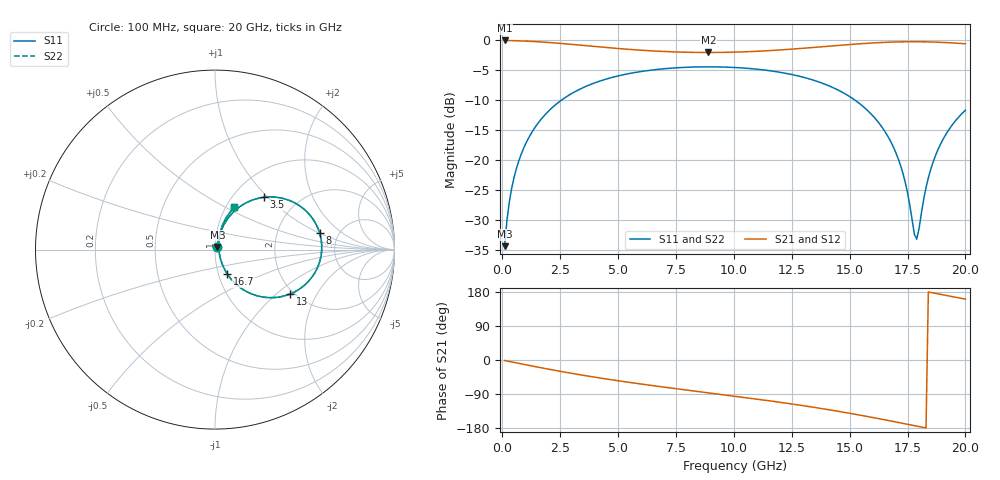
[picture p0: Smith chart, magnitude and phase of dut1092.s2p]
! Touchstone file exported from HFSS 2026.1.0
!  File:  C:/ffzhzh/LocalFiles/Ansys_Project_Files/temp_train_TSV_RDL_1092_1783302139_38820.aedt
!  Generated:  09:52:30 AM Jul  6, 2026
!  Design:  TSV_RDL
!  Project:  temp_train_TSV_RDL_1092_1783302139_38820
! Variables:
!  h_bsmrdl = 5.15um
!  h_ox = 20um
!  h_rdl = 5um
!  h_sub = 74.8um
!  h_tmrdl = 4.38um
!  h_tsv = 74.8um
!  h_via = 3um
!  l_bsmrdl = 343.61um
!  l_sub = 3296.63um
!  l_tmrdl = 436.48um
!  m_sub = 200um
!  pitch = 59.23um
!  r_tsv = 9.41um
!  s_tmrdl = 10um
!  w_bsmrdl = 22.66um
!  w_sub = 500um
!  w_tmrdl = 17.3um
!  x_tsv_center1 = 445.13um
!  x_tsv_center2 = 811.4um
!  x_tsv_center3 = 1265.18um
!  x_tsv_center4 = 1631.45um
!  x_tsv_center5 = 2085.23um
!  x_tsv_center6 = 2451.5um
# GHz S MA R 50.000000
! Terminal data exported
! Port[1] = TM_RDL1_1_T1
! Port[2] = TM_RDL5_1_T1
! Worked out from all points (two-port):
!   200 points, 100 MHz to 20 GHz, reference 50 ohm
!   highest |S21| = -0.11 dB at 100 MHz (marker M1); lowest = -2.1 dB at 8.9 GHz (marker M2)
!   |S21| within 3 dB of the highest: start of sweep to end of sweep
!   lowest |S11| = -34.4 dB at 100 MHz (marker M3), VSWR 1.04, Z = 51.3 + j1.43 ohm
!   |S11| at or under -10 dB: start of sweep to 2.581 GHz; 15.21 GHz to end of sweep
!   |S22| runs from -34.4 to -4.5 dB; largest |S21 - S12| = 1.5e-14
!   S11 on the Smith chart (normalised r, x): 100 MHz: 1.03, +0.03; 3.5 GHz: 1.37, +0.95; 8 GHz: 3.58, +1.00; 13 GHz: 1.92, -1.24; 16.7 GHz: 1.10, -0.30; 20 GHz: 1.10, +0.55
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0.1  0.01897 47.2  0.9873 -1.3  0.9873 -1.3  0.01897 47.2
! Gamma 0 0 0 0
! Port Impedance 50 0 50 0
0.3  0.04394 68.3  0.9856 -3.8  0.9856 -3.8  0.04394 68.3
0.5  0.06999 71.9  0.9833 -6.3  0.9833 -6.3  0.06999 71.9
1.1  0.147 70.3  0.9735 -13.6  0.9735 -13.6  0.147 70.3
2.1  0.2656 61.0  0.9469 -25.3  0.9469 -25.3  0.2656 60.9
3.5  0.3996 46.8  0.8974 -40.4  0.8974 -40.4  0.3996 46.8
6.8  0.5688 18.1  0.802 -70.1  0.802 -70.1  0.5688 18.1
8  0.5903 8.9  0.7869 -79.6  0.7869 -79.6  0.5903 8.9
8.9  0.595 2.1  0.7835 -86.6  0.7835 -86.6  0.595 2.1
10.1  0.5864 -6.9  0.7896 -96.0  0.7896 -96.0  0.5864 -6.9
13  0.487 -30.4  0.8499 -120.6  0.8499 -120.6  0.487 -30.4
13.4  0.4629 -34.0  0.8621 -124.3  0.8621 -124.3  0.4629 -34.0
15.4  0.2968 -52.7  0.9255 -145.0  0.9255 -145.0  0.2967 -52.7
16.7  0.1506 -63.3  0.9554 -160.0  0.9554 -160.0  0.1505 -63.4
17.3  0.0771 -62.3  0.9621 -167.2  0.9621 -167.2  0.077 -62.6
17.5  0.05305 -57.0  0.9632 -169.6  0.9632 -169.6  0.05292 -57.3
17.8  0.0237 -19.3  0.9636 -173.2  0.9636 -173.2  0.02341 -19.6
17.9  0.02171 12.1  0.9634 -174.5  0.9634 -174.5  0.0214 12.3
18.3  0.0584 68.0  0.9611 -179.3  0.9611 -179.3  0.05829 68.3
18.7  0.1071 73.3  0.9564 175.9  0.9564 175.9  0.1071 73.5
19.3  0.1795 71.0  0.945 168.8  0.945 168.8  0.1795 71.1
20  0.2586 65.3  0.9267 160.7  0.9267 160.7  0.2586 65.3
